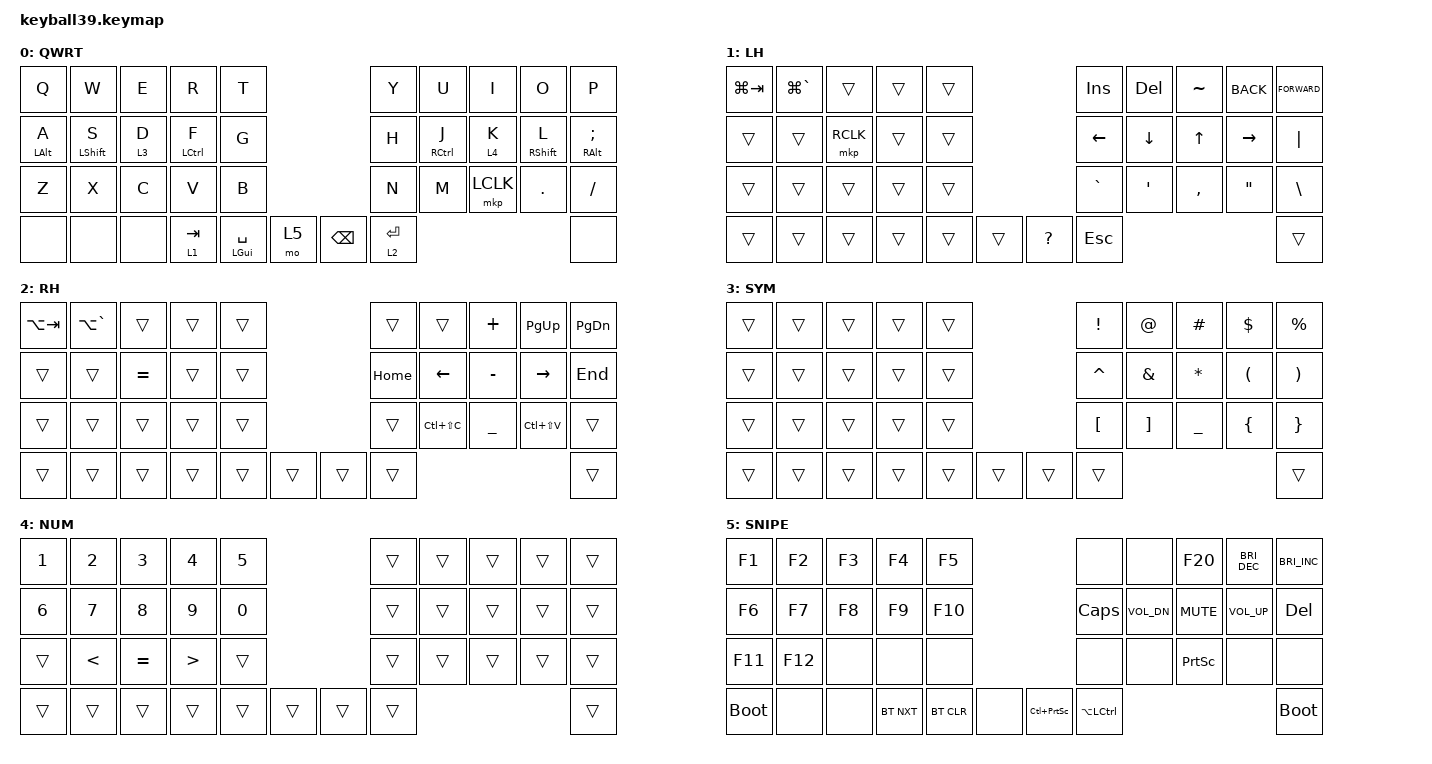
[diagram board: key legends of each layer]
#include <behaviors/mouse_keys.dtsi>
#include <dt-bindings/zmk/mouse.h>
#include <behaviors.dtsi>
#include <dt-bindings/zmk/bt.h>
#include <dt-bindings/zmk/keys.h>
#include <dt-bindings/zmk/pointing.h>

&lt {
    tapping-term-ms = <240>;
    flavor = "balanced";
    quick-tap-ms = <150>;
};

&mt {
    tapping-term-ms = <200>;
    flavor = "tap-preferred";
    quick-tap-ms = <150>;
};

/ {
    combos { compatible = "zmk,combos"; };

    keymap {
        compatible = "zmk,keymap";

        default_layer {
            label = "QWRT";
            bindings = <
&kp Q           &kp W         &kp E    &kp R        &kp T                                     &kp Y        &kp U        &kp I      &kp O              &kp P
&mt LEFT_ALT A  &mt LSHIFT S  &lt 3 D  &mt LCTRL F  &kp G                                     &kp H        &mt RCTRL J  &lt 4 K    &mt RIGHT_SHIFT L  &mt RIGHT_ALT SEMI
&kp Z           &kp X         &kp C    &kp V        &kp B                                     &kp N        &kp M        &mkp LCLK  &kp PERIOD         &kp SLASH
&none           &none         &none    &lt 1 TAB    &mt LEFT_GUI SPACE  &mo 5  &kp BACKSPACE  &lt 2 ENTER                                             &none
            >;
        };

        LH {
            label = "LH";
            bindings = <
&kp LG(TAB)  &kp LG(GRAVE)  &trans     &trans  &trans                        &kp INSERT  &kp DELETE        &kp TILDE  &kp K_BACK         &kp K_FORWARD
&trans       &trans         &mkp RCLK  &trans  &trans                        &kp LEFT    &kp DOWN          &kp UP     &kp RIGHT          &kp PIPE
&trans       &trans         &trans     &trans  &trans                        &kp GRAVE   &kp SINGLE_QUOTE  &kp COMMA  &kp DOUBLE_QUOTES  &kp BACKSLASH
&trans       &trans         &trans     &trans  &trans  &trans  &kp QUESTION  &kp ESC                                                     &trans
            >;
        };

        RH {
            label = "RH";
            bindings = <
&kp LA(TAB)  &kp LA(GRAVE)  &trans     &trans  &trans                  &trans    &trans         &kp PLUS        &kp PAGE_UP    &kp PAGE_DOWN
&trans       &trans         &kp EQUAL  &trans  &trans                  &kp HOME  &kp LEFT       &kp MINUS       &kp RIGHT      &kp END
&trans       &trans         &trans     &trans  &trans                  &trans    &kp LC(LS(C))  &kp UNDERSCORE  &kp LC(LS(V))  &trans
&trans       &trans         &trans     &trans  &trans  &trans  &trans  &trans                                                  &trans
            >;
        };

        SYM {
            label = "SYM";
            bindings = <
&trans  &trans  &trans  &trans  &trans                  &kp EXCLAMATION   &kp AT_SIGN        &kp HASH        &kp DOLLAR            &kp PERCENT
&trans  &trans  &trans  &trans  &trans                  &kp CARET         &kp AMPERSAND      &kp ASTERISK    &kp LEFT_PARENTHESIS  &kp RIGHT_PARENTHESIS
&trans  &trans  &trans  &trans  &trans                  &kp LEFT_BRACKET  &kp RIGHT_BRACKET  &kp UNDERSCORE  &kp LEFT_BRACE        &kp RIGHT_BRACE
&trans  &trans  &trans  &trans  &trans  &trans  &trans  &trans                                                                     &trans
            >;
        };

        NUM {
            bindings = <
&kp N1  &kp N2         &kp N3     &kp N4            &kp N5                  &trans  &trans  &trans  &trans  &trans
&kp N6  &kp N7         &kp N8     &kp N9            &kp N0                  &trans  &trans  &trans  &trans  &trans
&trans  &kp LESS_THAN  &kp EQUAL  &kp GREATER_THAN  &trans                  &trans  &trans  &trans  &trans  &trans
&trans  &trans         &trans     &trans            &trans  &trans  &trans  &trans                          &trans
            >;

            label = "NUM";
        };

        SNIPE {
            label = "SNIPE";
            bindings = <
&kp F1       &kp F2   &kp F3  &kp F4      &kp F5                                  &none                 &none         &kp F20          &kp C_BRIGHTNESS_DEC  &kp C_BRIGHTNESS_INC
&kp F6       &kp F7   &kp F8  &kp F9      &kp F10                                 &kp CAPS              &kp C_VOL_DN  &kp K_MUTE       &kp C_VOL_UP          &kp DEL
&kp F11      &kp F12  &none   &none       &none                                   &none                 &none         &kp PRINTSCREEN  &none                 &none
&bootloader  &none    &none   &bt BT_NXT  &bt BT_CLR  &none  &kp LC(PRINTSCREEN)  &kp LA(LEFT_CONTROL)                                                       &bootloader
            >;
        };
    };
};
